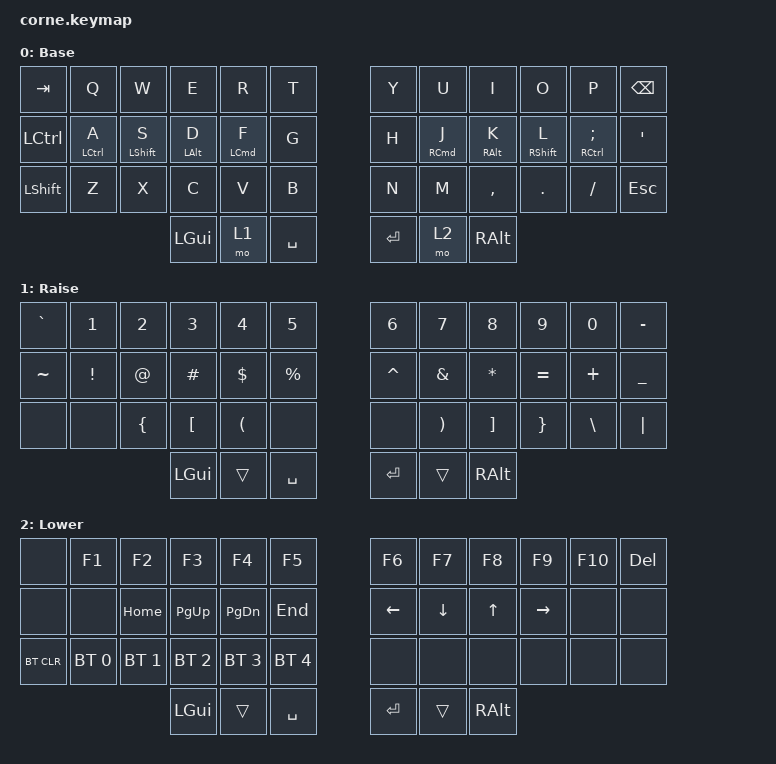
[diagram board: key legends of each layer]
/*
 * Copyright (c) 2020 The ZMK Contributors
 *
 * SPDX-License-Identifier: MIT
 */

#include <behaviors.dtsi>
#include <dt-bindings/zmk/keys.h>
#include <dt-bindings/zmk/bt.h>

/ {
        behaviors {
            hml: home_row_mod_left {
                compatible = "zmk,behavior-hold-tap";
                #binding-cells = <2>;
                flavor = "tap-preferred";
                require-prior-idle-ms = <150>;
                tapping-term-ms = <200>;
                quick-tap-ms = <175>;
                bindings = <&kp>, <&kp>;
            };
            hmr: home_row_mod_right {
                compatible = "zmk,behavior-hold-tap";
                #binding-cells = <2>;
                flavor = "tap-preferred";
                require-prior-idle-ms = <150>;
                tapping-term-ms = <200>;
                quick-tap-ms = <175>;
                bindings = <&kp>, <&kp>;
            };
        };

        keymap {
                compatible = "zmk,keymap";

                default_layer {
// -----------------------------------------------------------------------------------------
// |  TAB |  Q  |  W  |  E  |  R  |  T  |   |  Y  |  U   |  I  |  O  |  P  | BKSP |
// | CTRL |  A  |  S  |  D  |  F  |  G  |   |  H  |  J   |  K  |  L  |  ;  |  '   |
// | SHFT |  Z  |  X  |  C  |  V  |  B  |   |  N  |  M   |  ,  |  .  |  /  | ESC  |
//                    | GUI | LWR | SPC |   | ENT | RSE  | ALT |
                        display-name = "Base";
                        bindings = <
   &kp TAB   &kp  Q       &kp  W       &kp  E      &kp  R      &kp T     /**/ &kp Y   &kp  U       &kp  I      &kp  O       &kp  P          &kp BSPC
   &kp LCTRL &hml LCTRL A &hml LSHFT S &hml LALT D &hml LCMD F &kp G     /**/ &kp H   &hmr RCMD J  &hmr RALT K &hmr RSHFT L &hmr RCTRL SEMI &kp SQT
   &kp LSHFT &kp  Z       &kp  X       &kp  C      &kp  V      &kp B     /**/ &kp N   &kp  M       &kp  COMMA  &kp  DOT     &kp  FSLH       &kp ESC
                                       &kp LGUI    &mo  1      &kp SPACE /**/ &kp RET &mo  2       &kp  RALT
                        >;
                };

                lower_layer {
// -----------------------------------------------------------------------------------------
// |  `   |  1  |  2  |  3  |  4  |  5  |   |  6  |  7  |  8  |  9  |  0  |  -  |
// |  ~   |  !  |  @  |  #  |  $  |  %  |   |  ^  |  &  |  *  |  =  |  +  |  _  |
// |      |     |  {  |  [  |  (  |     |   |     |  )  |  ]  |  }  |  \  | "|" |
//                    | GUI |     | SPC |   | ENT |     | ALT |
                        display-name = "Raise";
                        bindings = <
   &kp GRAVE &kp N1   &kp N2   &kp N3     &kp N4     &kp N5      &kp N6 &kp N7  &kp N8 &kp N9 &kp N0 &kp MINUS
   &kp TILDE &kp EXCL &kp AT   &kp HASH   &kp DLLR   &kp PRCNT   &kp CARET &kp AMPS &kp STAR        &kp EQUAL &kp PLUS &kp UNDER
   &none     &none    &kp LBRC &kp LBKT   &kp LPAR   &none       &none &kp RPAR  &kp RBKT        &kp RBRC &kp BSLH &kp PIPE
                    	       &kp LGUI &trans         &kp SPACE   &kp RET   &trans    &kp RALT
                        >;
                };

                raise_layer {
// -----------------------------------------------------------------------------------------
// |      | F1  | F2  | F3  | F4  | F5  |   | F6  | F7  | F8  | F9  | F10 | DEL  |
// |      |     | HOME| PGDN| PGUP| END |   | LFT | DWN | UP  | RGT |     |      |
// | BTCLR| BT1 | BT2 | BT3 | BT4 | BT5 |   |     |     |     |     |     |      |
//                    | GUI |     | SPC |   | ENT |     | ALT |
                        display-name = "Lower";
                        bindings = <
   &none      &kp F1       &kp F2       &kp F3       &kp F4       &kp F5       /**/ &kp F6   &kp F7   &kp F8 &kp F9    &kp F10 &kp DEL
   &none      &none        &kp HOME     &kp PG_UP    &kp PG_DN    &kp END      /**/ &kp LEFT &kp DOWN &kp UP &kp RIGHT &none   &none
   &bt BT_CLR &bt BT_SEL 0 &bt BT_SEL 1 &bt BT_SEL 2 &bt BT_SEL 3 &bt BT_SEL 4 /**/ &none    &none    &none  &none     &none   &none
                          	            &kp LGUI     &trans       &kp SPACE    /**/ &kp RET  &trans   &kp RALT
                        >;
                };

                extra_1 {
                        status = "reserved";
                };

                extra_2 {
                        status = "reserved";
                };

                extra_3 {
                        status = "reserved";
                };
        };
};
